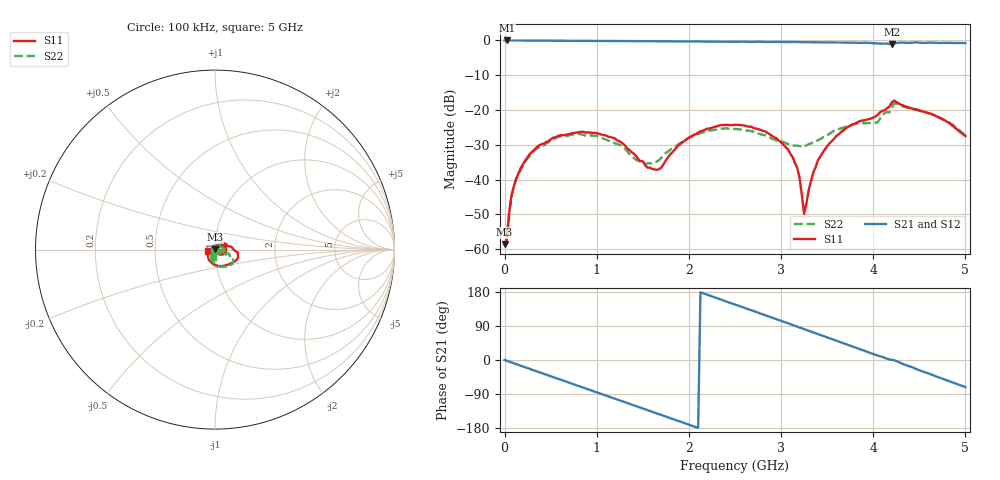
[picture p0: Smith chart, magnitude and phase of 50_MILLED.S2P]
!Agilent Technologies,E5071C,MY46101917,A.08.10
!Date: Mon Jan 01 05:27:25 2001
!Data & Calibration Information:
!Freq	S11:SOLT2(ON)	S21:SOLT2(ON)	S12:SOLT2(ON)	S22:SOLT2(ON)
# Hz S dB R 50
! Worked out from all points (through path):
!   201 points, 100 kHz to 5 GHz, reference 50 ohm
!   highest |S21| = 0.00 dB at 25.1 MHz (marker M1); lowest = -1.1 dB at 4.2 GHz (marker M2)
!   group delay of S21, straight-line fit = 239 ps
!   lowest |S11| = -58.6 dB at 100 kHz (marker M3), VSWR 1.00, Z = 50 + j0.11 ohm
!   |S11| at or under -10 dB: start of sweep to end of sweep
!   |S22| runs from -59.1 to -18.1 dB; largest |S21 - S12| = 0.012
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100000  -58.59 69.0  -0.01 -0.0  -0.01 -0.0  -59.11 -38.6
2.50995e7  -56.85 91.4  -0.00 -2.2  -0.01 -2.2  -56.97 103.1
7.50985e7  -44.38 93.9  -0.01 -6.5  -0.01 -6.5  -44.81 87.9
2.250955e8  -34.41 76.9  -0.03 -19.4  -0.03 -19.4  -34.82 72.3
5.750885e8  -27.49 36.9  -0.08 -49.3  -0.08 -49.3  -27.75 34.5
8.50083e8  -26.23 12.5  -0.12 -72.6  -0.12 -72.6  -27.08 3.2
1.250075e9  -29.02 -20.5  -0.16 -106.7  -0.16 -106.7  -30.00 -20.2
1.52507e9  -35.88 -3.7  -0.21 -130.1  -0.21 -130.1  -35.42 -4.2
1.675066e9  -36.97 35.1  -0.22 -142.9  -0.22 -142.9  -34.40 18.6
2.050059e9  -27.18 40.0  -0.26 -175.0  -0.25 -174.8  -27.48 19.0
2.50005e9  -24.22 -0.6  -0.39 146.4  -0.40 146.2  -25.43 -15.0
2.825044e9  -26.09 -34.3  -0.45 118.3  -0.46 118.0  -27.22 -34.4
3.075038e9  -31.31 -56.8  -0.45 97.0  -0.44 97.0  -29.75 -30.6
3.175036e9  -36.58 -62.4  -0.47 88.0  -0.47 88.1  -30.19 -23.5
3.250035e9  -49.81 -25.4  -0.50 81.6  -0.48 81.5  -30.24 -14.1
3.350033e9  -37.91 55.7  -0.50 72.8  -0.49 72.8  -29.27 -5.6
3.600028e9  -27.48 53.4  -0.57 50.9  -0.56 50.8  -25.68 -6.2
3.925022e9  -22.77 18.6  -0.64 22.5  -0.69 22.5  -23.79 -25.3
4.175016e9  -19.02 -3.4  -1.00 1.4  -1.07 1.3  -20.69 -27.0
4.200016e9  -17.88 -7.5  -1.11 0.3  -1.21 0.4  -19.47 -24.3
4.575008e9  -20.71 -79.3  -0.67 -33.2  -0.65 -33.0  -20.74 -82.3
5e9  -27.45 -167.5  -0.73 -71.7  -0.73 -71.5  -27.36 -104.0
